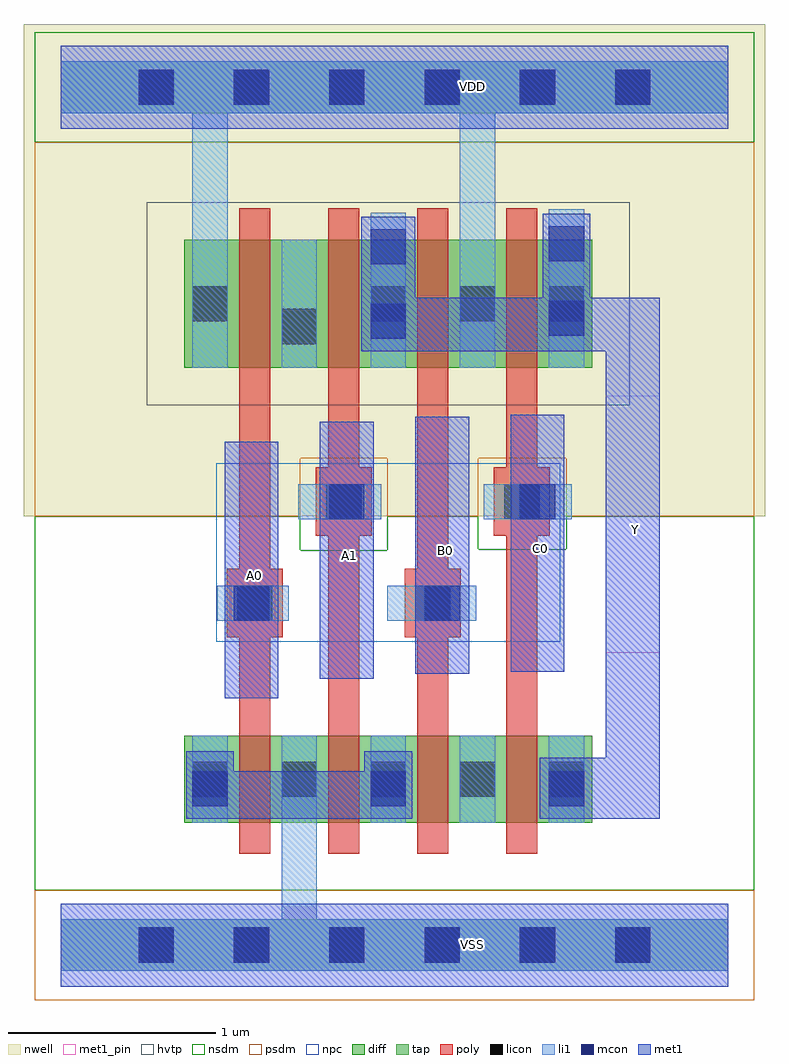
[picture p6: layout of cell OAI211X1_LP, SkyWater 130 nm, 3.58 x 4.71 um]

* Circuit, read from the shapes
.subckt OAI211X1_LP A0 A1 B0 C0 VDD VSS Y
XM1 VSS A0 n1 VSS sky130_fd_pr__nfet_01v8 w=0.42 l=0.15
XM2 n1 A1 VSS VSS sky130_fd_pr__nfet_01v8 w=0.42 l=0.15
XM3 n2 B0 n1 VSS sky130_fd_pr__nfet_01v8 w=0.42 l=0.15
XM4 Y C0 n2 VSS sky130_fd_pr__nfet_01v8 w=0.42 l=0.15
XM5 n3 A0 VDD VDD sky130_fd_pr__pfet_01v8_hvt w=0.62 l=0.15
XM6 Y A1 n3 VDD sky130_fd_pr__pfet_01v8_hvt w=0.62 l=0.15
XM7 VDD B0 Y VDD sky130_fd_pr__pfet_01v8_hvt w=0.62 l=0.15
XM8 Y C0 VDD VDD sky130_fd_pr__pfet_01v8_hvt w=0.62 l=0.15
.ends

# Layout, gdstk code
import gdstk
lib = gdstk.Library(unit=1e-6, precision=1e-09)
def R(c, l, rs):  # rectangles x0, y0, x1, y1
    for r in rs: c.add(gdstk.rectangle(r[:2], r[2:], *l))
def A(c, l, x, y, w, h, nx, ny, dx, dy):  # array of equal rectangles
    R(c, l, [(x+i*dx, y+j*dy, x+i*dx+w, y+j*dy+h) for i in range(nx) for j in range(ny)])
def P(c, l, *ps):  # polygons
    for p in ps: c.add(gdstk.Polygon(p, *l))
nwell = (64, 20)
diff = (65, 20)
tap = (65, 44)
poly = (66, 20)
licon = (66, 44)
li1 = (67, 20)
mcon = (67, 44)
met1_pin = (68, 16)
met1 = (68, 20)
hvtp = (78, 44)
nsdm = (93, 44)
psdm = (94, 20)
npc = (95, 20)

l1m1_c_cdns_795853916197 = lib.new_cell('L1M1_C_CDNS_795853916197')
R(l1m1_c_cdns_795853916197, li1, [(-0.085,-0.165,0.085,0.165)])
R(l1m1_c_cdns_795853916197, mcon, [(-0.085,-0.085,0.085,0.085)])
R(l1m1_c_cdns_795853916197, met1, [(-0.115,-0.145,0.115,0.145)])

l1m1_c_cdns_795853916199 = lib.new_cell('L1M1_C_CDNS_795853916199')
R(l1m1_c_cdns_795853916199, li1, [(-0.085,-0.345,0.085,0.345)])
R(l1m1_c_cdns_795853916199, mcon, [(-0.085,-0.265,0.085,-0.095), (-0.085,0.095,0.085,0.265)])
R(l1m1_c_cdns_795853916199, met1, [(-0.115,-0.325,0.115,0.325)])

licondiff_c_cdns_7958539 = lib.new_cell('LICONDIFF_C_CDNS_795853916196')
R(licondiff_c_cdns_7958539, diff, [(-0.125,-0.145,0.125,0.145)])
R(licondiff_c_cdns_7958539, licon, [(-0.085,-0.085,0.085,0.085), (-0.085,-0.085,0.085,0.085)])

pyl1con_c_cdns_795853916 = lib.new_cell('PYL1CON_C_CDNS_795853916195')
R(pyl1con_c_cdns_795853916, poly, [(-0.135,-0.165,0.135,0.165)])
R(pyl1con_c_cdns_795853916, licon, [(-0.085,-0.085,0.085,0.085)])
R(pyl1con_c_cdns_795853916, npc, [(-0.185,-0.185,0.185,0.185)])

l1m1_c_cdns_795853916194 = lib.new_cell('L1M1_C_CDNS_795853916194')
R(l1m1_c_cdns_795853916194, li1, [(-0.165,-0.085,0.165,0.085)])
R(l1m1_c_cdns_795853916194, mcon, [(-0.085,-0.085,0.085,0.085)])
R(l1m1_c_cdns_795853916194, met1, [(-0.115,-0.145,0.115,0.145)])

oai211x1_lp = lib.new_cell('OAI211X1_LP')
R(oai211x1_lp, nwell, [(-0.18,2.07,3.4,4.445)])
R(oai211x1_lp, diff, [(0.595,0.59,2.565,1.01), (0.595,2.785,2.565,3.405)])
A(oai211x1_lp, poly, 0.86, 0.44, 0.15, 3.115, 4, 1, 0.43, 0)
A(oai211x1_lp, licon, 0.375, -0.085, 0.17, 0.17, 6, 2, 0.46, 4.14)
A(oai211x1_lp, licon, 0.635, 0.715, 0.17, 0.17, 3, 1, 0.43, 0)
A(oai211x1_lp, licon, 1.495, 3.01, 0.17, 0.17, 3, 1, 0.43, 0)
R(oai211x1_lp, licon, [(2.355,0.715,2.525,0.885), (0.635,3.01,0.805,3.18)])
A(oai211x1_lp, li1, 0.635, 0.59, 0.17, 0.42, 3, 1, 0.86, 0)
R(oai211x1_lp, li1, [(1.495,2.785,1.665,3.405), (2.355,2.785,2.525,3.405)])
P(oai211x1_lp, li1, [(0.635,2.785),(0.635,4.015),(0,4.015),(0,4.265),(3.22,4.265),(3.22,4.015),(2.095,4.015),(2.095,2.785),(1.925,2.785),(1.925,4.015),(0.805,4.015),(0.805,2.785)],
  [(0,-0.125),(0,0.125),(1.065,0.125),(1.065,1.01),(1.235,1.01),(1.235,0.125),(3.22,0.125),(3.22,-0.125)])
A(oai211x1_lp, mcon, 0.375, -0.085, 0.17, 0.17, 6, 2, 0.46, 4.14)
R(oai211x1_lp, met1_pin, [(0.79,1.19,1.05,2.43), (1.25,1.285,1.51,2.525), (1.71,1.31,1.97,2.55), (2.17,1.32,2.43,2.56), (2.63,1.41,2.89,2.65)])
P(oai211x1_lp, met1, [(2.31,0.61),(2.31,0.905),(2.63,0.905),(2.63,2.865),(1.45,2.865),(1.45,3.515),(1.71,3.515),(1.71,3.125),(2.89,3.125),(2.89,0.61)])
R(oai211x1_lp, hvtp, [(0.415,2.605,2.745,3.585)])
R(oai211x1_lp, nsdm, [(-0.125,3.875,3.345,4.405)])
P(oai211x1_lp, nsdm, [(-0.125,0.265),(-0.125,2.07),(1.155,2.07),(1.155,1.905),(1.575,1.905),(1.575,2.07),(2.015,2.07),(2.015,1.91),(2.44,1.91),(2.44,2.07),(3.345,2.07),(3.345,0.265)])
R(oai211x1_lp, psdm, [(-0.125,-0.265,3.345,0.265)])
P(oai211x1_lp, psdm, [(-0.125,2.07),(-0.125,3.875),(3.345,3.875),(3.345,2.07),(2.44,2.07),(2.44,2.35),(2.015,2.35),(2.015,2.07),(1.575,2.07),(1.575,2.35),(1.155,2.35),(1.155,2.07)])
R(oai211x1_lp, npc, [(0.75,1.465,2.41,2.325)])
oai211x1_lp.add(gdstk.FlexPath([(0,4.14),(3.22,4.14)], 0.4, ends="flush", simple_path=True, layer=68, datatype=20))  # met1
oai211x1_lp.add(gdstk.FlexPath([(0,0),(3.22,0)], 0.4, ends="flush", simple_path=True, layer=68, datatype=20))  # met1
oai211x1_lp.add(gdstk.FlexPath([(0.92,1.19),(0.92,2.43)], 0.26, ends="flush", simple_path=True, layer=68, datatype=20))  # met1
oai211x1_lp.add(gdstk.FlexPath([(1.84,1.31),(1.84,2.55)], 0.26, ends="flush", simple_path=True, layer=68, datatype=20))  # met1
oai211x1_lp.add(gdstk.FlexPath([(1.38,1.285),(1.38,2.525)], 0.26, ends="flush", simple_path=True, layer=68, datatype=20))  # met1
oai211x1_lp.add(gdstk.FlexPath([(0.72,0.935),(0.72,0.725),(1.58,0.725),(1.58,0.935)], 0.23, ends="flush", simple_path=True, layer=68, datatype=20))  # met1
oai211x1_lp.add(gdstk.FlexPath([(2.3,1.32),(2.3,2.56)], 0.26, ends="flush", simple_path=True, layer=68, datatype=20))  # met1
oai211x1_lp.add(gdstk.FlexPath([(2.205,2.14),(2.04,2.14)], 0.17, ends=(0.085, 0), simple_path=True, layer=67, datatype=20))  # li1
oai211x1_lp.add(gdstk.FlexPath([(1.575,1.65),(1.74,1.65)], 0.17, ends=(0, 0.085), simple_path=True, layer=67, datatype=20))  # li1
oai211x1_lp.add(gdstk.FlexPath([(1.015,1.65),(0.85,1.65)], 0.17, ends=(0.085, 0), simple_path=True, layer=67, datatype=20))  # li1
oai211x1_lp.add(gdstk.FlexPath([(1.31,2.14),(1.145,2.14)], 0.17, ends=(0.085, 0), simple_path=True, layer=67, datatype=20))  # li1
oai211x1_lp.add(gdstk.FlexPath([(2.01,0.59),(2.01,1.01)], 0.17, ends="flush", simple_path=True, layer=67, datatype=20))  # li1
oai211x1_lp.add(gdstk.FlexPath([(1.15,2.785),(1.15,3.405)], 0.17, ends="flush", simple_path=True, layer=67, datatype=20))  # li1
oai211x1_lp.add(gdstk.FlexPath([(0,4.14),(3.22,4.14)], 0.25, ends="flush", simple_path=True, layer=65, datatype=44))  # tap
oai211x1_lp.add(gdstk.FlexPath([(0,0),(3.22,0)], 0.25, ends="flush", simple_path=True, layer=65, datatype=44))  # tap
oai211x1_lp.add(gdstk.FlexPath([(0,4.14),(3.22,4.14)], 0.4, ends="flush", simple_path=True, layer=68, datatype=16))  # met1_pin
oai211x1_lp.add(gdstk.FlexPath([(0,0),(3.22,0)], 0.4, ends="flush", simple_path=True, layer=68, datatype=16))  # met1_pin
oai211x1_lp.add(gdstk.Reference(l1m1_c_cdns_795853916197, (1.58,0.755)))
oai211x1_lp.add(gdstk.Reference(l1m1_c_cdns_795853916197, (2.44,0.755)))
oai211x1_lp.add(gdstk.Reference(l1m1_c_cdns_795853916197, (0.72,0.755)))
oai211x1_lp.add(gdstk.Reference(l1m1_c_cdns_795853916199, (1.58,3.19)))
oai211x1_lp.add(gdstk.Reference(l1m1_c_cdns_795853916199, (2.44,3.205)))
oai211x1_lp.add(gdstk.Reference(licondiff_c_cdns_7958539, (1.15,2.985)))
oai211x1_lp.add(gdstk.Reference(licondiff_c_cdns_7958539, (2.01,0.8)))
oai211x1_lp.add(gdstk.Reference(pyl1con_c_cdns_795853916, (2.225,2.14), x_reflection=True))
oai211x1_lp.add(gdstk.Reference(pyl1con_c_cdns_795853916, (1.795,1.65), x_reflection=True))
oai211x1_lp.add(gdstk.Reference(pyl1con_c_cdns_795853916, (0.935,1.65), x_reflection=True))
oai211x1_lp.add(gdstk.Reference(pyl1con_c_cdns_795853916, (1.365,2.14), x_reflection=True))
oai211x1_lp.add(gdstk.Reference(l1m1_c_cdns_795853916194, (1.84,1.65), x_reflection=True))
oai211x1_lp.add(gdstk.Reference(l1m1_c_cdns_795853916194, (1.38,2.14), x_reflection=True))
oai211x1_lp.add(gdstk.Reference(l1m1_c_cdns_795853916194, (2.3,2.14), x_reflection=True))
oai211x1_lp.add(gdstk.Reference(l1m1_c_cdns_795853916194, (0.92,1.65), x_reflection=True))
oai211x1_lp.add(gdstk.Label('B0', (1.855,1.905), layer=68, texttype=5))
oai211x1_lp.add(gdstk.Label('A0', (0.935,1.785), layer=68, texttype=5))
oai211x1_lp.add(gdstk.Label('C0', (2.315,1.915), layer=68, texttype=5))
oai211x1_lp.add(gdstk.Label('VDD', (1.985,4.145), layer=68, texttype=5))
oai211x1_lp.add(gdstk.Label('VSS', (1.985,0.005), layer=68, texttype=5))
oai211x1_lp.add(gdstk.Label('Y', (2.775,2.005), layer=68, texttype=5))
oai211x1_lp.add(gdstk.Label('A1', (1.395,1.88), layer=68, texttype=5))
oai211x1_lp.add(gdstk.Label('VDD', (1.985,4.145), layer=68, texttype=5))

lib.write_gds('OAI211X1_LP.gds')
